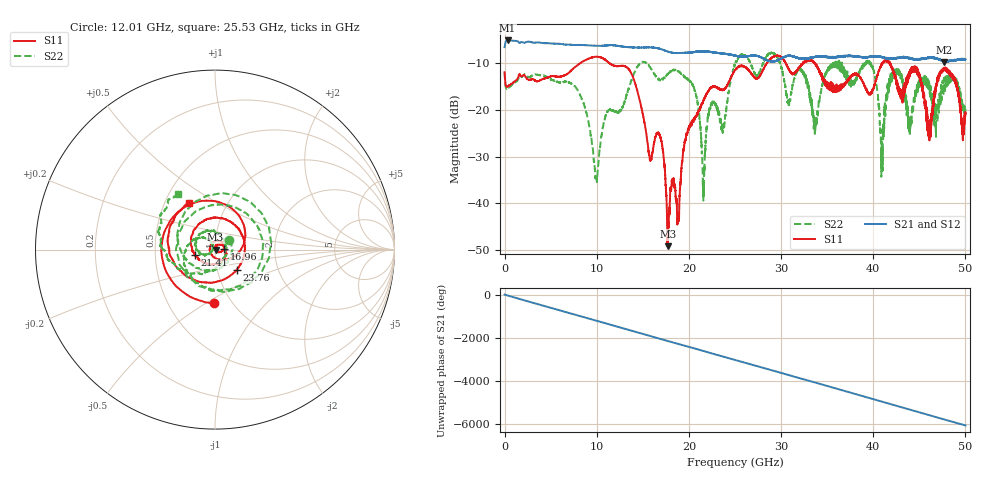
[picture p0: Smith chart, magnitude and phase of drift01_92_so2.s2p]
!Created with skrf (http://scikit-rf.org).
# Hz S RI R 50.0
!freq ReS11 ImS11 ReS21 ImS21 ReS12 ImS12 ReS22 ImS22
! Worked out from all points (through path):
!   10001 points, 300 kHz to 50 GHz, reference 50 ohm
!   highest |S21| = -5.05 dB at 315.3 MHz (marker M1); lowest = -9.7 dB at 47.67 GHz (marker M2)
!   group delay of S21, straight-line fit = 336 ps
!   lowest |S11| = -49.2 dB at 17.7 GHz (marker M3), VSWR 1.01, Z = 50.3 - j0.101 ohm
!   |S11| at or under -10 dB: start of sweep to 8.163 GHz; 11.44 GHz to 28.43 GHz (17 GHz wide, 85.3 % of centre); 41.8 GHz to end of sweep (the widest 3 of 9)
!   |S22| runs from -39.5 to -7.6 dB; largest |S21 - S12| = 0.015
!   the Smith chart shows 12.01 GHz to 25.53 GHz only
!   S11 on the Smith chart (normalised r, x): 12.01 GHz: 0.83, -0.54; 16.96 GHz: 1.10, +0.01; 21.41 GHz: 0.80, -0.05; 23.76 GHz: 1.24, -0.29; 25.53 GHz: 0.66, +0.38
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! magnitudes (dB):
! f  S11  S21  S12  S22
! 300 kHz  -11.9  -6.5  -6.5  -11.8
! 315.3 MHz  -15.0  -5.1  -5.1  -15.4
! 8.335 GHz  -9.8  -6.0  -6.0  -17.5
! 9.935 GHz  -8.6  -6.2  -6.2  -34.3
! 12.01 GHz  -10.5  -6.1  -6.1  -20.4
! 16.67 GHz  -24.9  -6.8  -6.8  -13.4
! 16.96 GHz  -26.2  -6.9  -6.9  -13.4
! 17.7 GHz  -49.2  -7.4  -7.4  -12.3
! 20.49 GHz  -22.6  -7.6  -7.6  -15.0
! 21.41 GHz  -18.6  -7.4  -7.4  -29.0
! 22.47 GHz  -15.1  -7.6  -7.6  -19.1
! 23.76 GHz  -15.6  -7.9  -7.9  -23.2
! 25 GHz  -11.4  -8.3  -8.4  -10.3
! 25.53 GHz  -10.5  -8.5  -8.5  -8.5
! 33.34 GHz  -9.4  -8.7  -8.7  -19.7
! 39.49 GHz  -16.5  -8.6  -8.6  -9.9
! 40.95 GHz  -10.1  -8.6  -8.6  -29.8
! 41.67 GHz  -9.7  -8.8  -9.0  -14.8
! 44.75 GHz  -11.7  -9.1  -9.1  -15.0
! 46.1 GHz  -25.4  -8.8  -8.7  -15.5
! 47.67 GHz  -11.3  -9.7  -9.5  -14.6
! 50 GHz  -20.8  -9.1  -9.1  -20.1
